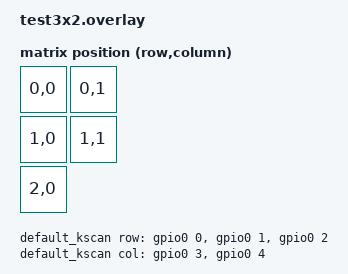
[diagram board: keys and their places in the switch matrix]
// Notes: this file's should match what's used in the .shield file's
// Since this is matrix wiring, we need a matrix transform macro, hence the "include" line.

#include <dt-bindings/zmk/matrix_transform.h>

/ {
	chosen {
		zmk,kscan = &default_kscan;
		zmk,matrix_transform = &default_transform;
	};

	default_transform: matrix_transform {
		compatible = "zmk,matrix-transform";
		columns = <2>;
		rows = <3>;
// | K1  | K2  |
// | K3  | K4  |
// | K5 |
//             |
		map = <
RC(0,0) RC(0,1)
RC(1,0) RC(1,1)
RC(2,0)
		>;
	};

	default_kscan: kscan {
		compatible = "zmk,kscan-gpio-matrix";
		label = "KSCAN"; // can name it whatever

		diode-direction = "col2row";
		row-gpios
			= <&gpio0 0 (GPIO_ACTIVE_HIGH | GPIO_PULL_DOWN)>     //Row0
			, <&gpio0 1 (GPIO_ACTIVE_HIGH | GPIO_PULL_DOWN)>     //Row1
			, <&gpio0 2 (GPIO_ACTIVE_HIGH | GPIO_PULL_DOWN)>     //Row2
			;

		col-gpios
			= <&gpio0 3 (GPIO_ACTIVE_HIGH | GPIO_PULL_DOWN)>     //Col0
			, <&gpio0 4 (GPIO_ACTIVE_HIGH | GPIO_PULL_DOWN)>     //Col1
			;
		
	};
   
};
